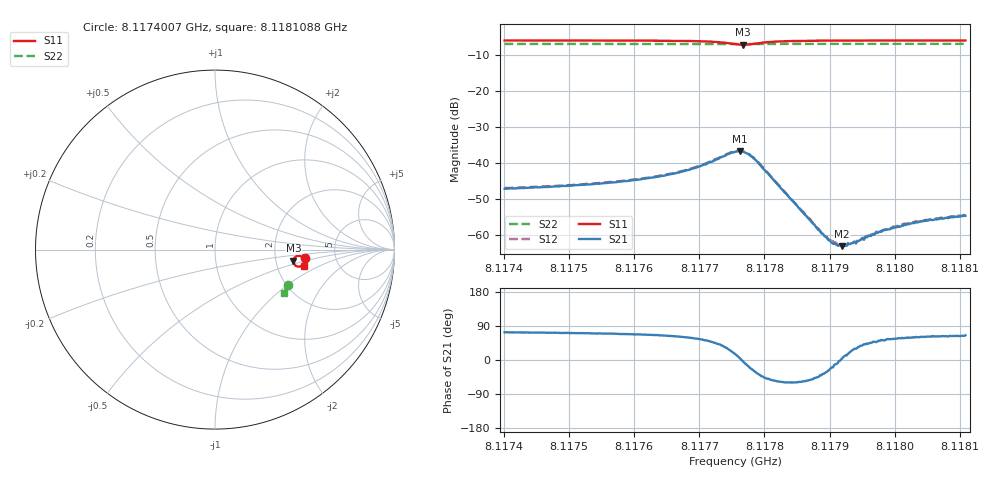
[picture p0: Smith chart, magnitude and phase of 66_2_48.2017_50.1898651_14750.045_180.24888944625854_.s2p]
#  HZ  S  RI  R  50.00
! Rohde & Schwarz Vector Network Analyzer
! Rohde-Schwarz,ZNB20-2Port,1311601062101988,3.16
! Created: UTC 3/20/2024, 11:38:58 AM
! freq[Hz]  re:S11  im:S11  re:S21  im:S21  re:S12  im:S12  re:S22  im:S22
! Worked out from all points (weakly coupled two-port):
!   401 points, 8.1174007 GHz to 8.1181088 GHz, reference 50 ohm
!   highest |S21| = -36.67 dB at 8.1177619 GHz (marker M1); lowest = -63.1 dB at 8.1179194 GHz (marker M2)
!   lowest |S11| = -7.1 dB at 8.1177672 GHz (marker M3), VSWR 2.58, Z = 125 - j19.3 ohm
!   |S11| at or under -10 dB: nowhere
!   |S22| runs from -6.9 to -6.9 dB; largest |S21 - S12| = 0.00039
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8.11740073e9  0.503 -0.0492  0.00127 0.00421  0.00138 0.00428  0.4073 -0.1957
8.11751933e9  0.501 -0.0606  0.00165 0.00472  0.00173 0.00478  0.4038 -0.2034
8.11759014e9  0.4988 -0.0687  0.00211 0.00528  0.00219 0.00536  0.4015 -0.208
8.11763794e9  0.4959 -0.0757  0.00273 0.00591  0.00284 0.00603  0.4001 -0.2111
8.11769281e9  0.4875 -0.0869  0.00464 0.00719  0.00479 0.0073  0.398 -0.2148
8.11775477e9  0.4425 -0.083  0.0138 0.00389  0.0141 0.00389  0.3943 -0.2177
8.11776185e9  0.4371 -0.0719  0.0146 0.00136  0.0148 0.00123  0.3941 -0.2176
8.11776716e9  0.4365 -0.062  0.0143 -0.000915  0.0145 -0.000974  0.3939 -0.2175
8.11777601e9  0.4422 -0.0467  0.0126 -0.00399  0.0127 -0.00437  0.3941 -0.2172
8.11778841e9  0.4586 -0.0356  0.00869 -0.00613  0.00874 -0.00628  0.3947 -0.2178
8.11782027e9  0.4868 -0.0422  0.0028 -0.00422  0.00279 -0.00432  0.3949 -0.2203
8.11787338e9  0.497 -0.0589  0.000949 -0.00115  0.000951 -0.00121  0.3935 -0.2242
8.11788931e9  0.4979 -0.0623  0.000843 -0.000632  0.00082 -0.000657  0.3931 -0.2254
8.1179017e9  0.4982 -0.0647  0.000767 -0.000311  0.000769 -0.000384  0.3925 -0.2263
8.11791055e9  0.4984 -0.0663  0.000735 -0.000137  0.000753 -0.000166  0.3922 -0.227
8.1179194e9  0.4985 -0.0677  0.000702 4.75e-05  0.000736 5.04e-05  0.3921 -0.2274
8.11792294e9  0.4985 -0.0683  0.000696 0.000126  0.000698 0.000128  0.3918 -0.2277
8.11793888e9  0.4986 -0.0707  0.00069 0.000392  0.000726 0.000378  0.3912 -0.2287
8.11797428e9  0.4985 -0.0753  0.000699 0.000819  0.000729 0.000826  0.3901 -0.231
8.11799198e9  0.4983 -0.0774  0.00069 0.00098  0.000716 0.00102  0.3896 -0.2321
8.11802916e9  0.498 -0.0814  0.000734 0.00129  0.000776 0.00131  0.3884 -0.2346
8.11810882e9  0.497 -0.089  0.00078 0.00169  0.00085 0.00166  0.3856 -0.2394
